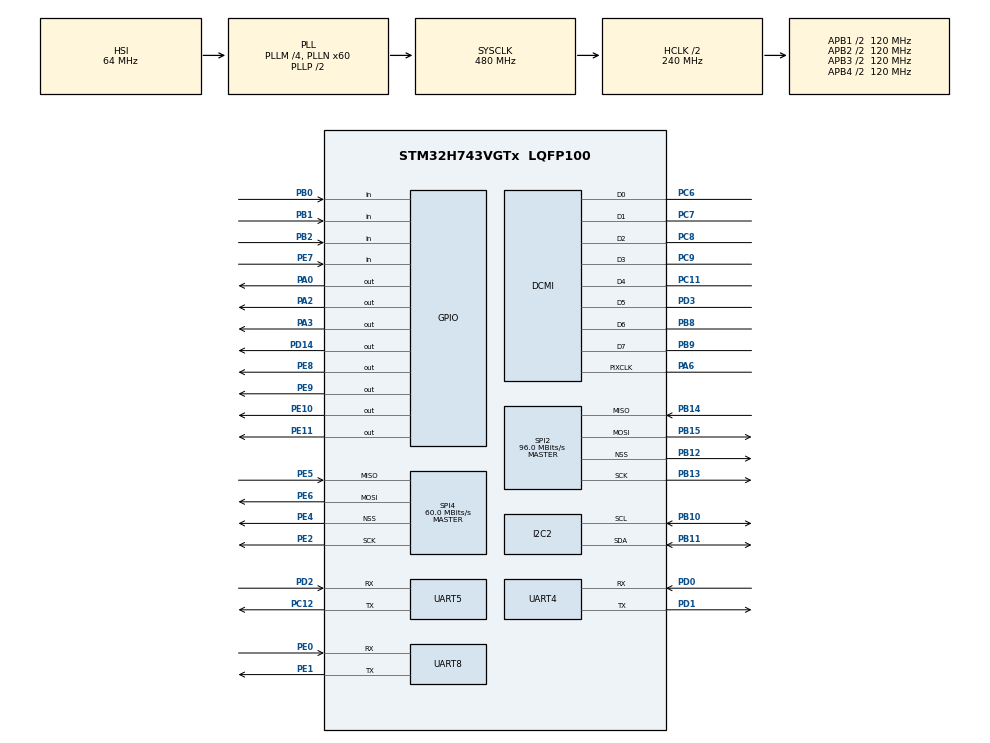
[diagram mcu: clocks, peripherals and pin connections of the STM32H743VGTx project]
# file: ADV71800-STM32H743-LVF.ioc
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CORTEX_M7.default_mode_Activation=1
DCMI.JPEGMode=DCMI_JPEG_DISABLE
Dma.DCMI.0.Direction=DMA_PERIPH_TO_MEMORY
Dma.DCMI.0.EventEnable=DISABLE
Dma.DCMI.0.FIFOMode=DMA_FIFOMODE_ENABLE
Dma.DCMI.0.FIFOThreshold=DMA_FIFO_THRESHOLD_FULL
Dma.DCMI.0.Instance=DMA1_Stream0
Dma.DCMI.0.MemBurst=DMA_MBURST_SINGLE
Dma.DCMI.0.MemDataAlignment=DMA_MDATAALIGN_WORD
Dma.DCMI.0.MemInc=DMA_MINC_ENABLE
Dma.DCMI.0.Mode=DMA_CIRCULAR
Dma.DCMI.0.PeriphBurst=DMA_PBURST_SINGLE
Dma.DCMI.0.PeriphDataAlignment=DMA_PDATAALIGN_WORD
Dma.DCMI.0.PeriphInc=DMA_PINC_DISABLE
Dma.DCMI.0.Polarity=HAL_DMAMUX_REQ_GEN_RISING
Dma.DCMI.0.Priority=DMA_PRIORITY_VERY_HIGH
Dma.DCMI.0.RequestNumber=1
Dma.DCMI.0.SignalID=NONE
Dma.DCMI.0.SyncEnable=DISABLE
Dma.DCMI.0.SyncPolarity=HAL_DMAMUX_SYNC_NO_EVENT
Dma.DCMI.0.SyncRequestNumber=1
Dma.DCMI.0.SyncSignalID=NONE
Dma.Request0=DCMI
I2C2.Timing=0x307075B1
Mcu.Family=STM32H7
Mcu.Name=STM32H743VGTx
Mcu.Package=LQFP100
Mdma.MDMA_Channel0.JPEG_INFIFO_TH.0.BlockCount=0
Mdma.MDMA_Channel0.JPEG_INFIFO_TH.0.BlockDataLength=0
Mdma.MDMA_Channel0.JPEG_INFIFO_TH.0.BufferTransferLength=32
Mdma.MDMA_Channel0.JPEG_INFIFO_TH.0.CircularMode=MDMA_LINEAR_LIST
Mdma.MDMA_Channel0.JPEG_INFIFO_TH.0.DataAlignment=MDMA_DATAALIGN_PACKENABLE
Mdma.MDMA_Channel0.JPEG_INFIFO_TH.0.DestBlockAddressOffset=0
Mdma.MDMA_Channel0.JPEG_INFIFO_TH.0.DestBurst=MDMA_DEST_BURST_SINGLE
Mdma.MDMA_Channel0.JPEG_INFIFO_TH.0.DestDataSize=MDMA_DEST_DATASIZE_WORD
Mdma.MDMA_Channel0.JPEG_INFIFO_TH.0.DestinationInc=MDMA_DEST_INC_DISABLE
Mdma.MDMA_Channel0.JPEG_INFIFO_TH.0.DstAddress=0
Mdma.MDMA_Channel0.JPEG_INFIFO_TH.0.Endianness=MDMA_LITTLE_ENDIANNESS_PRESERVE
Mdma.MDMA_Channel0.JPEG_INFIFO_TH.0.Instance=MDMA_Channel0
Mdma.MDMA_Channel0.JPEG_INFIFO_TH.0.MaskAddress=0
Mdma.MDMA_Channel0.JPEG_INFIFO_TH.0.MaskData=0
Mdma.MDMA_Channel0.JPEG_INFIFO_TH.0.Priority=MDMA_PRIORITY_HIGH
Mdma.MDMA_Channel0.JPEG_INFIFO_TH.0.Rank=First
Mdma.MDMA_Channel0.JPEG_INFIFO_TH.0.SourceBlockAddressOffset=0
Mdma.MDMA_Channel0.JPEG_INFIFO_TH.0.SourceBurst=MDMA_SOURCE_BURST_SINGLE
Mdma.MDMA_Channel0.JPEG_INFIFO_TH.0.SourceDataSize=MDMA_SRC_DATASIZE_BYTE
Mdma.MDMA_Channel0.JPEG_INFIFO_TH.0.SourceInc=MDMA_SRC_INC_BYTE
Mdma.MDMA_Channel0.JPEG_INFIFO_TH.0.SrcAddress=0
Mdma.MDMA_Channel0.JPEG_INFIFO_TH.0.TransferTriggerMode=MDMA_BUFFER_TRANSFER
Mdma.MDMA_Channel0.Request0=JPEG_INFIFO_TH
Mdma.MDMA_Channel0.RequestsNb=1
Mdma.MDMA_Channel1.JPEG_OUTFIFO_TH.0.BlockCount=0
Mdma.MDMA_Channel1.JPEG_OUTFIFO_TH.0.BlockDataLength=0
Mdma.MDMA_Channel1.JPEG_OUTFIFO_TH.0.BufferTransferLength=32
Mdma.MDMA_Channel1.JPEG_OUTFIFO_TH.0.CircularMode=MDMA_LINEAR_LIST
Mdma.MDMA_Channel1.JPEG_OUTFIFO_TH.0.DataAlignment=MDMA_DATAALIGN_PACKENABLE
Mdma.MDMA_Channel1.JPEG_OUTFIFO_TH.0.DestBlockAddressOffset=0
Mdma.MDMA_Channel1.JPEG_OUTFIFO_TH.0.DestBurst=MDMA_DEST_BURST_SINGLE
Mdma.MDMA_Channel1.JPEG_OUTFIFO_TH.0.DestDataSize=MDMA_DEST_DATASIZE_BYTE
Mdma.MDMA_Channel1.JPEG_OUTFIFO_TH.0.DestinationInc=MDMA_DEST_INC_BYTE
Mdma.MDMA_Channel1.JPEG_OUTFIFO_TH.0.DstAddress=0
Mdma.MDMA_Channel1.JPEG_OUTFIFO_TH.0.Endianness=MDMA_LITTLE_ENDIANNESS_PRESERVE
Mdma.MDMA_Channel1.JPEG_OUTFIFO_TH.0.Instance=MDMA_Channel1
Mdma.MDMA_Channel1.JPEG_OUTFIFO_TH.0.MaskAddress=0
Mdma.MDMA_Channel1.JPEG_OUTFIFO_TH.0.MaskData=0
Mdma.MDMA_Channel1.JPEG_OUTFIFO_TH.0.Priority=MDMA_PRIORITY_HIGH
Mdma.MDMA_Channel1.JPEG_OUTFIFO_TH.0.Rank=First
Mdma.MDMA_Channel1.JPEG_OUTFIFO_TH.0.SourceBlockAddressOffset=0
Mdma.MDMA_Channel1.JPEG_OUTFIFO_TH.0.SourceBurst=MDMA_SOURCE_BURST_SINGLE
Mdma.MDMA_Channel1.JPEG_OUTFIFO_TH.0.SourceDataSize=MDMA_SRC_DATASIZE_WORD
Mdma.MDMA_Channel1.JPEG_OUTFIFO_TH.0.SourceInc=MDMA_SRC_INC_DISABLE
Mdma.MDMA_Channel1.JPEG_OUTFIFO_TH.0.SrcAddress=0
Mdma.MDMA_Channel1.JPEG_OUTFIFO_TH.0.TransferTriggerMode=MDMA_BUFFER_TRANSFER
Mdma.MDMA_Channel1.Request0=JPEG_OUTFIFO_TH
Mdma.MDMA_Channel1.RequestsNb=1
Mdma.RequestSet0=MDMA_Channel0
Mdma.RequestSet1=MDMA_Channel1
Mdma.RequestSetsNb=2
NVIC.DCMI_IRQn=true\:0\:0\:false\:false\:true\:true\:true\:true
NVIC.DMA1_Stream0_IRQn=true\:0\:0\:false\:false\:true\:false\:true\:true
NVIC.JPEG_IRQn=true\:0\:0\:false\:false\:true\:true\:true\:true
NVIC.MDMA_IRQn=true\:0\:0\:false\:false\:true\:false\:true\:true
NVIC.PriorityGroup=NVIC_PRIORITYGROUP_4
PA0.Signal=GPIO_Output
PA13\ (JTMS/SWDIO).Mode=JTAG_4_pins
PA13\ (JTMS/SWDIO).Signal=DEBUG_JTMS-SWDIO
PA14\ (JTCK/SWCLK).Mode=JTAG_4_pins
PA14\ (JTCK/SWCLK).Signal=DEBUG_JTCK-SWCLK
PA15\ (JTDI).Mode=JTAG_4_pins
PA15\ (JTDI).Signal=DEBUG_JTDI
PA2.Signal=GPIO_Output
PA3.Signal=GPIO_Output
PA6.Mode=Slave_8_bits_Embedded_Synchro
PA6.Signal=DCMI_PIXCLK
PB0.Signal=GPIO_Input
PB1.Signal=GPIO_Input
PB10.Mode=I2C
PB10.Signal=I2C2_SCL
PB11.Mode=I2C
PB11.Signal=I2C2_SDA
PB12.Mode=NSS_Signal_Hard_Output
PB12.Signal=SPI2_NSS
PB13.Mode=Full_Duplex_Master
PB13.Signal=SPI2_SCK
PB14.Mode=Full_Duplex_Master
PB14.Signal=SPI2_MISO
PB15.Mode=Full_Duplex_Master
PB15.Signal=SPI2_MOSI
PB2.Signal=GPIO_Input
PB3\ (JTDO/TRACESWO).Mode=JTAG_4_pins
PB3\ (JTDO/TRACESWO).Signal=DEBUG_JTDO-SWO
PB8.Mode=Slave_8_bits_Embedded_Synchro
PB8.Signal=DCMI_D6
PB9.Mode=Slave_8_bits_Embedded_Synchro
PB9.Signal=DCMI_D7
PC11.Mode=Slave_8_bits_Embedded_Synchro
PC11.Signal=DCMI_D4
PC12.Mode=Asynchronous
PC12.Signal=UART5_TX
PC6.Mode=Slave_8_bits_Embedded_Synchro
PC6.Signal=DCMI_D0
PC7.Mode=Slave_8_bits_Embedded_Synchro
PC7.Signal=DCMI_D1
PC8.Mode=Slave_8_bits_Embedded_Synchro
PC8.Signal=DCMI_D2
PC9.Mode=Slave_8_bits_Embedded_Synchro
PC9.Signal=DCMI_D3
PD0.Mode=Asynchronous
PD0.Signal=UART4_RX
PD1.Mode=Asynchronous
PD1.Signal=UART4_TX
PD14.Signal=GPIO_Output
PD2.Mode=Asynchronous
PD2.Signal=UART5_RX
PD3.Mode=Slave_8_bits_Embedded_Synchro
PD3.Signal=DCMI_D5
PE0.Mode=Asynchronous
PE0.Signal=UART8_RX
PE1.Mode=Asynchronous
PE1.Signal=UART8_TX
PE10.Signal=GPIO_Output
PE11.Signal=GPIO_Output
PE2.Mode=Full_Duplex_Master
PE2.Signal=SPI4_SCK
PE4.Mode=NSS_Signal_Hard_Output
PE4.Signal=SPI4_NSS
PE5.Mode=Full_Duplex_Master
PE5.Signal=SPI4_MISO
PE6.Mode=Full_Duplex_Master
PE6.Signal=SPI4_MOSI
PE7.Signal=GPIO_Input
PE8.Signal=GPIO_Output
PE9.Signal=GPIO_Output
ProjectManager.HeapSize=0x200
ProjectManager.StackSize=0x400
ProjectManager.TargetToolchain=STM32CubeIDE
RCC.ADCFreq_Value=129000000
RCC.APB1Freq_Value=120000000
RCC.APB2Freq_Value=120000000
RCC.APB3Freq_Value=120000000
RCC.APB4Freq_Value=120000000
RCC.CortexFreq_Value=480000000
RCC.D1PPRE=RCC_APB3_DIV2
RCC.D2PPRE1=RCC_APB1_DIV2
RCC.D2PPRE2=RCC_APB2_DIV2
RCC.D3PPRE=RCC_APB4_DIV2
RCC.DIVM1=4
RCC.DIVN1=60
RCC.DIVQ1=5
RCC.HCLKFreq_Value=240000000
RCC.HPRE=RCC_HCLK_DIV2
RCC.PLLFRACN=0
RCC.SYSCLKFreq_VALUE=480000000
RCC.SYSCLKSource=RCC_SYSCLKSOURCE_PLLCLK
RCC.USBFreq_Value=192000000
SPI2.CalculateBaudRate=96.0 MBits/s
SPI2.Direction=SPI_DIRECTION_2LINES
SPI2.Mode=SPI_MODE_MASTER
SPI2.VirtualNSS=VM_NSSHARD
SPI2.VirtualType=VM_MASTER
SPI4.CalculateBaudRate=60.0 MBits/s
SPI4.Direction=SPI_DIRECTION_2LINES
SPI4.Mode=SPI_MODE_MASTER
SPI4.VirtualNSS=VM_NSSHARD
SPI4.VirtualType=VM_MASTER
VP_JPEG_VS_JPEG.Mode=JPEG_Activate
VP_MEMORYMAP_VS_MEMORYMAP.Mode=CurAppReg
board=custom

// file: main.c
/* USER CODE BEGIN Header */
/**
  ******************************************************************************
  * @file           : main.c
  * @brief          : Main program body
  ******************************************************************************
  * @attention
  *
  * Copyright (c) 2026 STMicroelectronics.
  * All rights reserved.
  *
  * This software is licensed under terms that can be found in the LICENSE file
  * in the root directory of this software component.
  * If no LICENSE file comes with this software, it is provided AS-IS.
  *
  ******************************************************************************
  */
/* USER CODE END Header */
#include "main.h"

/* USER CODE BEGIN Includes */

#include <stdio.h>

/* USER CODE END Includes */

DCMI_HandleTypeDef hdcmi;
DMA_HandleTypeDef hdma_dcmi;

I2C_HandleTypeDef hi2c2;

JPEG_HandleTypeDef hjpeg;
MDMA_HandleTypeDef hmdma_jpeg_infifo_th;
MDMA_HandleTypeDef hmdma_jpeg_outfifo_th;

SPI_HandleTypeDef hspi2;
SPI_HandleTypeDef hspi4;

UART_HandleTypeDef huart4;
UART_HandleTypeDef huart5;
UART_HandleTypeDef huart8;

void SystemClock_Config(void);
static void MPU_Config(void);
static void MX_GPIO_Init(void);
static void MX_DMA_Init(void);
static void MX_MDMA_Init(void);
static void MX_DCMI_Init(void);
static void MX_I2C2_Init(void);
static void MX_SPI2_Init(void);
static void MX_SPI4_Init(void);
static void MX_UART4_Init(void);
static void MX_UART5_Init(void);
static void MX_JPEG_Init(void);
static void MX_UART8_Init(void);

/* USER CODE BEGIN 0 */

// ADV 7180 SETUP

#define ADV_ADDRESS 0x42

// store all the required commands for setup
typedef struct {

	  uint8_t reg;
	  uint8_t cmd;

  } ADV_Reg_Config;

uint8_t Write_ADV (uint8_t regAddr, uint8_t data) {

	return HAL_I2C_Mem_Write(&hi2c2, ADV_ADDRESS, regAddr, I2C_MEMADD_SIZE_8BIT, &data, 1, 100);
}

uint8_t Read_ADV (uint8_t regAddr) {

	uint8_t data = 0;
	HAL_I2C_Mem_Read(&hi2c2, ADV_ADDRESS, regAddr, I2C_MEMADD_SIZE_8BIT, &data, 1, 100);
	return data;
}

void ADV_Init (const ADV_Reg_Config config[], uint16_t size) {

	// reset the ADV by writing bit 7 to 1 and wait
	Write_ADV(0x0F, 0x80);
	HAL_Delay(50);

	// iterate through the configure commands
	for (uint16_t i = 0; i < size; i++) {

		uint8_t code = Write_ADV (config[i].reg, config[i].cmd);

		// HAL error code
		if (code != HAL_OK) {
			printf("ERROR WRITING TO ADV7180. CODE 0x%02X\n", code);

			// blink light
			while(1) {
				HAL_GPIO_TogglePin(GPIOA, GPIO_PIN_2);
				HAL_Delay(500);
			}
		}
	}

	uint8_t status = Read_ADV(0x10); // read status 1 from register
	printf("STATUS 1: 0x%0.2X\n", status);

}

/* USER CODE END 0 */

int main(void)
{

  /* MPU Configuration--------------------------------------------------------*/
  MPU_Config();

  /* MCU Configuration--------------------------------------------------------*/

  /* Reset of all peripherals, Initializes the Flash interface and the Systick. */
  HAL_Init();

  /* Configure the system clock */
  SystemClock_Config();

  /* Initialize all configured peripherals */
  MX_GPIO_Init();
  MX_DMA_Init();
  MX_MDMA_Init();
  MX_DCMI_Init();
  MX_I2C2_Init();
  MX_SPI2_Init();
  MX_SPI4_Init();
  MX_UART4_Init();
  MX_UART5_Init();
  MX_JPEG_Init();
  MX_UART8_Init();
  /* USER CODE BEGIN 2 */

  // see saved ADV71800 PDFs for details on the I2C configuration

  // create a struct to execute setup commands

  const ADV_Reg_Config ADV_NTSC_CVBS_Config[] = {
		  {0x00, 0x10}, // 0001 for auto-detect video standard NTSC M and then 0000 for CVBS input on AIs 1
		  {0x14, 0x30}, // Reset Clamps
		  {0x04, 0x57},	// Enable SFL Output
		  {0x17, 0x41}, // Chroma Shaping Filter
		  {0x31, 0x02}, // NEWAVMODE automatically sequences start and end of vid
		  {0x3D, 0xA2}, // MWE Enable Manual WIndow, Colour Kill threshold 2
		  {0x3E, 0x6A}, // Blank Level Margin optimization
		  {0x3F, 0xA0},	// BGB
		  {0x0E, 0x80}, // Enable ADC
		  {0x55, 0x81},
		  {0x0E, 0x00},
		  {0x52, 0x0D}, // Analog Front End IBIAS Settings for CVBS
  };

  uint16_t size = sizeof(ADV_NTSC_CVBS_Config) / sizeof(ADV_NTSC_CVBS_Config[0]);

  // initialize the ADV
  ADV_Init(ADV_NTSC_CVBS_Config, size);

  HAL_GPIO_WritePin(GPIOA, GPIO_Pin_2, 1);

  /* USER CODE END 2 */

  /* Infinite loop */
  while (1)
  {

  }
}

void SystemClock_Config(void)
{
  RCC_OscInitTypeDef RCC_OscInitStruct = {0};
  RCC_ClkInitTypeDef RCC_ClkInitStruct = {0};

  /** Supply configuration update enable
  */
  HAL_PWREx_ConfigSupply(PWR_LDO_SUPPLY);

  /** Configure the main internal regulator output voltage
  */
  __HAL_PWR_VOLTAGESCALING_CONFIG(PWR_REGULATOR_VOLTAGE_SCALE0);

  while(!__HAL_PWR_GET_FLAG(PWR_FLAG_VOSRDY)) {}

  /** Initializes the RCC Oscillators according to the specified parameters
  * in the RCC_OscInitTypeDef structure.
  */
  RCC_OscInitStruct.OscillatorType = RCC_OSCILLATORTYPE_HSI;
  RCC_OscInitStruct.HSIState = RCC_HSI_DIV1;
  RCC_OscInitStruct.HSICalibrationValue = RCC_HSICALIBRATION_DEFAULT;
  RCC_OscInitStruct.PLL.PLLState = RCC_PLL_ON;
  RCC_OscInitStruct.PLL.PLLSource = RCC_PLLSOURCE_HSI;
  RCC_OscInitStruct.PLL.PLLM = 4;
  RCC_OscInitStruct.PLL.PLLN = 60;
  RCC_OscInitStruct.PLL.PLLP = 2;
  RCC_OscInitStruct.PLL.PLLQ = 5;
  RCC_OscInitStruct.PLL.PLLR = 2;
  RCC_OscInitStruct.PLL.PLLRGE = RCC_PLL1VCIRANGE_3;
  RCC_OscInitStruct.PLL.PLLVCOSEL = RCC_PLL1VCOWIDE;
  RCC_OscInitStruct.PLL.PLLFRACN = 0;
  if (HAL_RCC_OscConfig(&RCC_OscInitStruct) != HAL_OK)
  {
    Error_Handler();
  }

  /** Initializes the CPU, AHB and APB buses clocks
  */
  RCC_ClkInitStruct.ClockType = RCC_CLOCKTYPE_HCLK|RCC_CLOCKTYPE_SYSCLK
                              |RCC_CLOCKTYPE_PCLK1|RCC_CLOCKTYPE_PCLK2
                              |RCC_CLOCKTYPE_D3PCLK1|RCC_CLOCKTYPE_D1PCLK1;
  RCC_ClkInitStruct.SYSCLKSource = RCC_SYSCLKSOURCE_PLLCLK;
  RCC_ClkInitStruct.SYSCLKDivider = RCC_SYSCLK_DIV1;
  RCC_ClkInitStruct.AHBCLKDivider = RCC_HCLK_DIV2;
  RCC_ClkInitStruct.APB3CLKDivider = RCC_APB3_DIV2;
  RCC_ClkInitStruct.APB1CLKDivider = RCC_APB1_DIV2;
  RCC_ClkInitStruct.APB2CLKDivider = RCC_APB2_DIV2;
  RCC_ClkInitStruct.APB4CLKDivider = RCC_APB4_DIV2;

  if (HAL_RCC_ClockConfig(&RCC_ClkInitStruct, FLASH_LATENCY_4) != HAL_OK)
  {
    Error_Handler();
  }
}

static void MX_DCMI_Init(void)
{

  hdcmi.Instance = DCMI;
  hdcmi.Init.SynchroMode = DCMI_SYNCHRO_EMBEDDED;
  hdcmi.Init.PCKPolarity = DCMI_PCKPOLARITY_FALLING;
  hdcmi.Init.CaptureRate = DCMI_CR_ALL_FRAME;
  hdcmi.Init.ExtendedDataMode = DCMI_EXTEND_DATA_8B;
  hdcmi.Init.SyncroCode.FrameEndCode = 0;
  hdcmi.Init.SyncroCode.FrameStartCode = 0;
  hdcmi.Init.SyncroCode.LineStartCode = 0;
  hdcmi.Init.SyncroCode.LineEndCode = 0;
  hdcmi.Init.JPEGMode = DCMI_JPEG_DISABLE;
  hdcmi.Init.ByteSelectMode = DCMI_BSM_ALL;
  hdcmi.Init.ByteSelectStart = DCMI_OEBS_ODD;
  hdcmi.Init.LineSelectMode = DCMI_LSM_ALL;
  hdcmi.Init.LineSelectStart = DCMI_OELS_ODD;
  if (HAL_DCMI_Init(&hdcmi) != HAL_OK)
  {
    Error_Handler();
  }

}

static void MX_I2C2_Init(void)
{

  hi2c2.Instance = I2C2;
  hi2c2.Init.Timing = 0x307075B1;
  hi2c2.Init.OwnAddress1 = 0;
  hi2c2.Init.AddressingMode = I2C_ADDRESSINGMODE_7BIT;
  hi2c2.Init.DualAddressMode = I2C_DUALADDRESS_DISABLE;
  hi2c2.Init.OwnAddress2 = 0;
  hi2c2.Init.OwnAddress2Masks = I2C_OA2_NOMASK;
  hi2c2.Init.GeneralCallMode = I2C_GENERALCALL_DISABLE;
  hi2c2.Init.NoStretchMode = I2C_NOSTRETCH_DISABLE;
  if (HAL_I2C_Init(&hi2c2) != HAL_OK)
  {
    Error_Handler();
  }

  /** Configure Analogue filter
  */
  if (HAL_I2CEx_ConfigAnalogFilter(&hi2c2, I2C_ANALOGFILTER_ENABLE) != HAL_OK)
  {
    Error_Handler();
  }

  /** Configure Digital filter
  */
  if (HAL_I2CEx_ConfigDigitalFilter(&hi2c2, 0) != HAL_OK)
  {
    Error_Handler();
  }

}

static void MX_JPEG_Init(void)
{

  hjpeg.Instance = JPEG;
  if (HAL_JPEG_Init(&hjpeg) != HAL_OK)
  {
    Error_Handler();
  }

}

static void MX_SPI2_Init(void)
{

  /* SPI2 parameter configuration*/
  hspi2.Instance = SPI2;
  hspi2.Init.Mode = SPI_MODE_MASTER;
  hspi2.Init.Direction = SPI_DIRECTION_2LINES;
  hspi2.Init.DataSize = SPI_DATASIZE_4BIT;
  hspi2.Init.CLKPolarity = SPI_POLARITY_LOW;
  hspi2.Init.CLKPhase = SPI_PHASE_1EDGE;
  hspi2.Init.NSS = SPI_NSS_HARD_OUTPUT;
  hspi2.Init.BaudRatePrescaler = SPI_BAUDRATEPRESCALER_2;
  hspi2.Init.FirstBit = SPI_FIRSTBIT_MSB;
  hspi2.Init.TIMode = SPI_TIMODE_DISABLE;
  hspi2.Init.CRCCalculation = SPI_CRCCALCULATION_DISABLE;
  hspi2.Init.CRCPolynomial = 0x0;
  hspi2.Init.NSSPMode = SPI_NSS_PULSE_ENABLE;
  hspi2.Init.NSSPolarity = SPI_NSS_POLARITY_LOW;
  hspi2.Init.FifoThreshold = SPI_FIFO_THRESHOLD_01DATA;
  hspi2.Init.TxCRCInitializationPattern = SPI_CRC_INITIALIZATION_ALL_ZERO_PATTERN;
  hspi2.Init.RxCRCInitializationPattern = SPI_CRC_INITIALIZATION_ALL_ZERO_PATTERN;
  hspi2.Init.MasterSSIdleness = SPI_MASTER_SS_IDLENESS_00CYCLE;
  hspi2.Init.MasterInterDataIdleness = SPI_MASTER_INTERDATA_IDLENESS_00CYCLE;
  hspi2.Init.MasterReceiverAutoSusp = SPI_MASTER_RX_AUTOSUSP_DISABLE;
  hspi2.Init.MasterKeepIOState = SPI_MASTER_KEEP_IO_STATE_DISABLE;
  hspi2.Init.IOSwap = SPI_IO_SWAP_DISABLE;
  if (HAL_SPI_Init(&hspi2) != HAL_OK)
  {
    Error_Handler();
  }

}

static void MX_SPI4_Init(void)
{

  /* SPI4 parameter configuration*/
  hspi4.Instance = SPI4;
  hspi4.Init.Mode = SPI_MODE_MASTER;
  hspi4.Init.Direction = SPI_DIRECTION_2LINES;
  hspi4.Init.DataSize = SPI_DATASIZE_4BIT;
  hspi4.Init.CLKPolarity = SPI_POLARITY_LOW;
  hspi4.Init.CLKPhase = SPI_PHASE_1EDGE;
  hspi4.Init.NSS = SPI_NSS_HARD_OUTPUT;
  hspi4.Init.BaudRatePrescaler = SPI_BAUDRATEPRESCALER_2;
  hspi4.Init.FirstBit = SPI_FIRSTBIT_MSB;
  hspi4.Init.TIMode = SPI_TIMODE_DISABLE;
  hspi4.Init.CRCCalculation = SPI_CRCCALCULATION_DISABLE;
  hspi4.Init.CRCPolynomial = 0x0;
  hspi4.Init.NSSPMode = SPI_NSS_PULSE_ENABLE;
  hspi4.Init.NSSPolarity = SPI_NSS_POLARITY_LOW;
  hspi4.Init.FifoThreshold = SPI_FIFO_THRESHOLD_01DATA;
  hspi4.Init.TxCRCInitializationPattern = SPI_CRC_INITIALIZATION_ALL_ZERO_PATTERN;
  hspi4.Init.RxCRCInitializationPattern = SPI_CRC_INITIALIZATION_ALL_ZERO_PATTERN;
  hspi4.Init.MasterSSIdleness = SPI_MASTER_SS_IDLENESS_00CYCLE;
  hspi4.Init.MasterInterDataIdleness = SPI_MASTER_INTERDATA_IDLENESS_00CYCLE;
  hspi4.Init.MasterReceiverAutoSusp = SPI_MASTER_RX_AUTOSUSP_DISABLE;
  hspi4.Init.MasterKeepIOState = SPI_MASTER_KEEP_IO_STATE_DISABLE;
  hspi4.Init.IOSwap = SPI_IO_SWAP_DISABLE;
  if (HAL_SPI_Init(&hspi4) != HAL_OK)
  {
    Error_Handler();
  }

}

static void MX_UART4_Init(void)
{

  huart4.Instance = UART4;
  huart4.Init.BaudRate = 115200;
  huart4.Init.WordLength = UART_WORDLENGTH_8B;
  huart4.Init.StopBits = UART_STOPBITS_1;
  huart4.Init.Parity = UART_PARITY_NONE;
  huart4.Init.Mode = UART_MODE_TX_RX;
  huart4.Init.HwFlowCtl = UART_HWCONTROL_NONE;
  huart4.Init.OverSampling = UART_OVERSAMPLING_16;
  huart4.Init.OneBitSampling = UART_ONE_BIT_SAMPLE_DISABLE;
  huart4.Init.ClockPrescaler = UART_PRESCALER_DIV1;
  huart4.AdvancedInit.AdvFeatureInit = UART_ADVFEATURE_NO_INIT;
  if (HAL_UART_Init(&huart4) != HAL_OK)
  {
    Error_Handler();
  }
  if (HAL_UARTEx_SetTxFifoThreshold(&huart4, UART_TXFIFO_THRESHOLD_1_8) != HAL_OK)
  {
    Error_Handler();
  }
  if (HAL_UARTEx_SetRxFifoThreshold(&huart4, UART_RXFIFO_THRESHOLD_1_8) != HAL_OK)
  {
    Error_Handler();
  }
  if (HAL_UARTEx_DisableFifoMode(&huart4) != HAL_OK)
  {
    Error_Handler();
  }

}

static void MX_UART5_Init(void)
{

  huart5.Instance = UART5;
  huart5.Init.BaudRate = 115200;
  huart5.Init.WordLength = UART_WORDLENGTH_8B;
  huart5.Init.StopBits = UART_STOPBITS_1;
  huart5.Init.Parity = UART_PARITY_NONE;
  huart5.Init.Mode = UART_MODE_TX_RX;
  huart5.Init.HwFlowCtl = UART_HWCONTROL_NONE;
  huart5.Init.OverSampling = UART_OVERSAMPLING_16;
  huart5.Init.OneBitSampling = UART_ONE_BIT_SAMPLE_DISABLE;
  huart5.Init.ClockPrescaler = UART_PRESCALER_DIV1;
  huart5.AdvancedInit.AdvFeatureInit = UART_ADVFEATURE_NO_INIT;
  if (HAL_UART_Init(&huart5) != HAL_OK)
  {
    Error_Handler();
  }
  if (HAL_UARTEx_SetTxFifoThreshold(&huart5, UART_TXFIFO_THRESHOLD_1_8) != HAL_OK)
  {
    Error_Handler();
  }
  if (HAL_UARTEx_SetRxFifoThreshold(&huart5, UART_RXFIFO_THRESHOLD_1_8) != HAL_OK)
  {
    Error_Handler();
  }
  if (HAL_UARTEx_DisableFifoMode(&huart5) != HAL_OK)
  {
    Error_Handler();
  }

}

static void MX_UART8_Init(void)
{

  huart8.Instance = UART8;
  huart8.Init.BaudRate = 115200;
  huart8.Init.WordLength = UART_WORDLENGTH_8B;
  huart8.Init.StopBits = UART_STOPBITS_1;
  huart8.Init.Parity = UART_PARITY_NONE;
  huart8.Init.Mode = UART_MODE_TX_RX;
  huart8.Init.HwFlowCtl = UART_HWCONTROL_NONE;
  huart8.Init.OverSampling = UART_OVERSAMPLING_16;
  huart8.Init.OneBitSampling = UART_ONE_BIT_SAMPLE_DISABLE;
  huart8.Init.ClockPrescaler = UART_PRESCALER_DIV1;
  huart8.AdvancedInit.AdvFeatureInit = UART_ADVFEATURE_NO_INIT;
  if (HAL_UART_Init(&huart8) != HAL_OK)
  {
    Error_Handler();
  }
  if (HAL_UARTEx_SetTxFifoThreshold(&huart8, UART_TXFIFO_THRESHOLD_1_8) != HAL_OK)
  {
    Error_Handler();
  }
  if (HAL_UARTEx_SetRxFifoThreshold(&huart8, UART_RXFIFO_THRESHOLD_1_8) != HAL_OK)
  {
    Error_Handler();
  }
  if (HAL_UARTEx_DisableFifoMode(&huart8) != HAL_OK)
  {
    Error_Handler();
  }

}

static void MX_DMA_Init(void)
{

  /* DMA controller clock enable */
  __HAL_RCC_DMA1_CLK_ENABLE();

  /* DMA interrupt init */
  /* DMA1_Stream0_IRQn interrupt configuration */
  HAL_NVIC_SetPriority(DMA1_Stream0_IRQn, 0, 0);
  HAL_NVIC_EnableIRQ(DMA1_Stream0_IRQn);

}

/**
  * Enable MDMA controller clock
  */
static void MX_MDMA_Init(void)
{

  /* MDMA controller clock enable */
  __HAL_RCC_MDMA_CLK_ENABLE();
  /* Local variables */

  /* MDMA interrupt initialization */
  /* MDMA_IRQn interrupt configuration */
  HAL_NVIC_SetPriority(MDMA_IRQn, 0, 0);
  HAL_NVIC_EnableIRQ(MDMA_IRQn);

}

static void MX_GPIO_Init(void)
{
  GPIO_InitTypeDef GPIO_InitStruct = {0};

  /* GPIO Ports Clock Enable */
  __HAL_RCC_GPIOE_CLK_ENABLE();
  __HAL_RCC_GPIOA_CLK_ENABLE();
  __HAL_RCC_GPIOB_CLK_ENABLE();
  __HAL_RCC_GPIOD_CLK_ENABLE();
  __HAL_RCC_GPIOC_CLK_ENABLE();

  /*Configure GPIO pin Output Level */
  HAL_GPIO_WritePin(GPIOA, GPIO_PIN_0|GPIO_PIN_2|GPIO_PIN_3, GPIO_PIN_RESET);

  /*Configure GPIO pin Output Level */
  HAL_GPIO_WritePin(GPIOE, GPIO_PIN_8|GPIO_PIN_9|GPIO_PIN_10|GPIO_PIN_11, GPIO_PIN_RESET);

  /*Configure GPIO pin Output Level */
  HAL_GPIO_WritePin(GPIOD, GPIO_PIN_14, GPIO_PIN_RESET);

  /*Configure GPIO pins : PA0 PA2 PA3 */
  GPIO_InitStruct.Pin = GPIO_PIN_0|GPIO_PIN_2|GPIO_PIN_3;
  GPIO_InitStruct.Mode = GPIO_MODE_OUTPUT_PP;
  GPIO_InitStruct.Pull = GPIO_NOPULL;
  GPIO_InitStruct.Speed = GPIO_SPEED_FREQ_LOW;
  HAL_GPIO_Init(GPIOA, &GPIO_InitStruct);

  /*Configure GPIO pins : PB0 PB1 PB2 */
  GPIO_InitStruct.Pin = GPIO_PIN_0|GPIO_PIN_1|GPIO_PIN_2;
  GPIO_InitStruct.Mode = GPIO_MODE_INPUT;
  GPIO_InitStruct.Pull = GPIO_NOPULL;
  HAL_GPIO_Init(GPIOB, &GPIO_InitStruct);

  /*Configure GPIO pin : PE7 */
  GPIO_InitStruct.Pin = GPIO_PIN_7;
  GPIO_InitStruct.Mode = GPIO_MODE_INPUT;
  GPIO_InitStruct.Pull = GPIO_NOPULL;
  HAL_GPIO_Init(GPIOE, &GPIO_InitStruct);

  /*Configure GPIO pins : PE8 PE9 PE10 PE11 */
  GPIO_InitStruct.Pin = GPIO_PIN_8|GPIO_PIN_9|GPIO_PIN_10|GPIO_PIN_11;
  GPIO_InitStruct.Mode = GPIO_MODE_OUTPUT_PP;
  GPIO_InitStruct.Pull = GPIO_NOPULL;
  GPIO_InitStruct.Speed = GPIO_SPEED_FREQ_LOW;
  HAL_GPIO_Init(GPIOE, &GPIO_InitStruct);

  /*Configure GPIO pin : PD14 */
  GPIO_InitStruct.Pin = GPIO_PIN_14;
  GPIO_InitStruct.Mode = GPIO_MODE_OUTPUT_PP;
  GPIO_InitStruct.Pull = GPIO_NOPULL;
  GPIO_InitStruct.Speed = GPIO_SPEED_FREQ_LOW;
  HAL_GPIO_Init(GPIOD, &GPIO_InitStruct);

  /*AnalogSwitch Config */
  HAL_SYSCFG_AnalogSwitchConfig(SYSCFG_SWITCH_PA0, SYSCFG_SWITCH_PA0_CLOSE);

}

 /* MPU Configuration */

void MPU_Config(void)
{
  MPU_Region_InitTypeDef MPU_InitStruct = {0};

  /* Disables the MPU */
  HAL_MPU_Disable();

  /** Initializes and configures the Region and the memory to be protected
  */
  MPU_InitStruct.Enable = MPU_REGION_ENABLE;
  MPU_InitStruct.Number = MPU_REGION_NUMBER0;
  MPU_InitStruct.BaseAddress = 0x0;
  MPU_InitStruct.Size = MPU_REGION_SIZE_4GB;
  MPU_InitStruct.SubRegionDisable = 0x87;
  MPU_InitStruct.TypeExtField = MPU_TEX_LEVEL0;
  MPU_InitStruct.AccessPermission = MPU_REGION_NO_ACCESS;
  MPU_InitStruct.DisableExec = MPU_INSTRUCTION_ACCESS_DISABLE;
  MPU_InitStruct.IsShareable = MPU_ACCESS_SHAREABLE;
  MPU_InitStruct.IsCacheable = MPU_ACCESS_NOT_CACHEABLE;
  MPU_InitStruct.IsBufferable = MPU_ACCESS_NOT_BUFFERABLE;

  HAL_MPU_ConfigRegion(&MPU_InitStruct);
  /* Enables the MPU */
  HAL_MPU_Enable(MPU_PRIVILEGED_DEFAULT);

}

void Error_Handler(void)
{
  __disable_irq();
  while (1)
  {
  }
}
